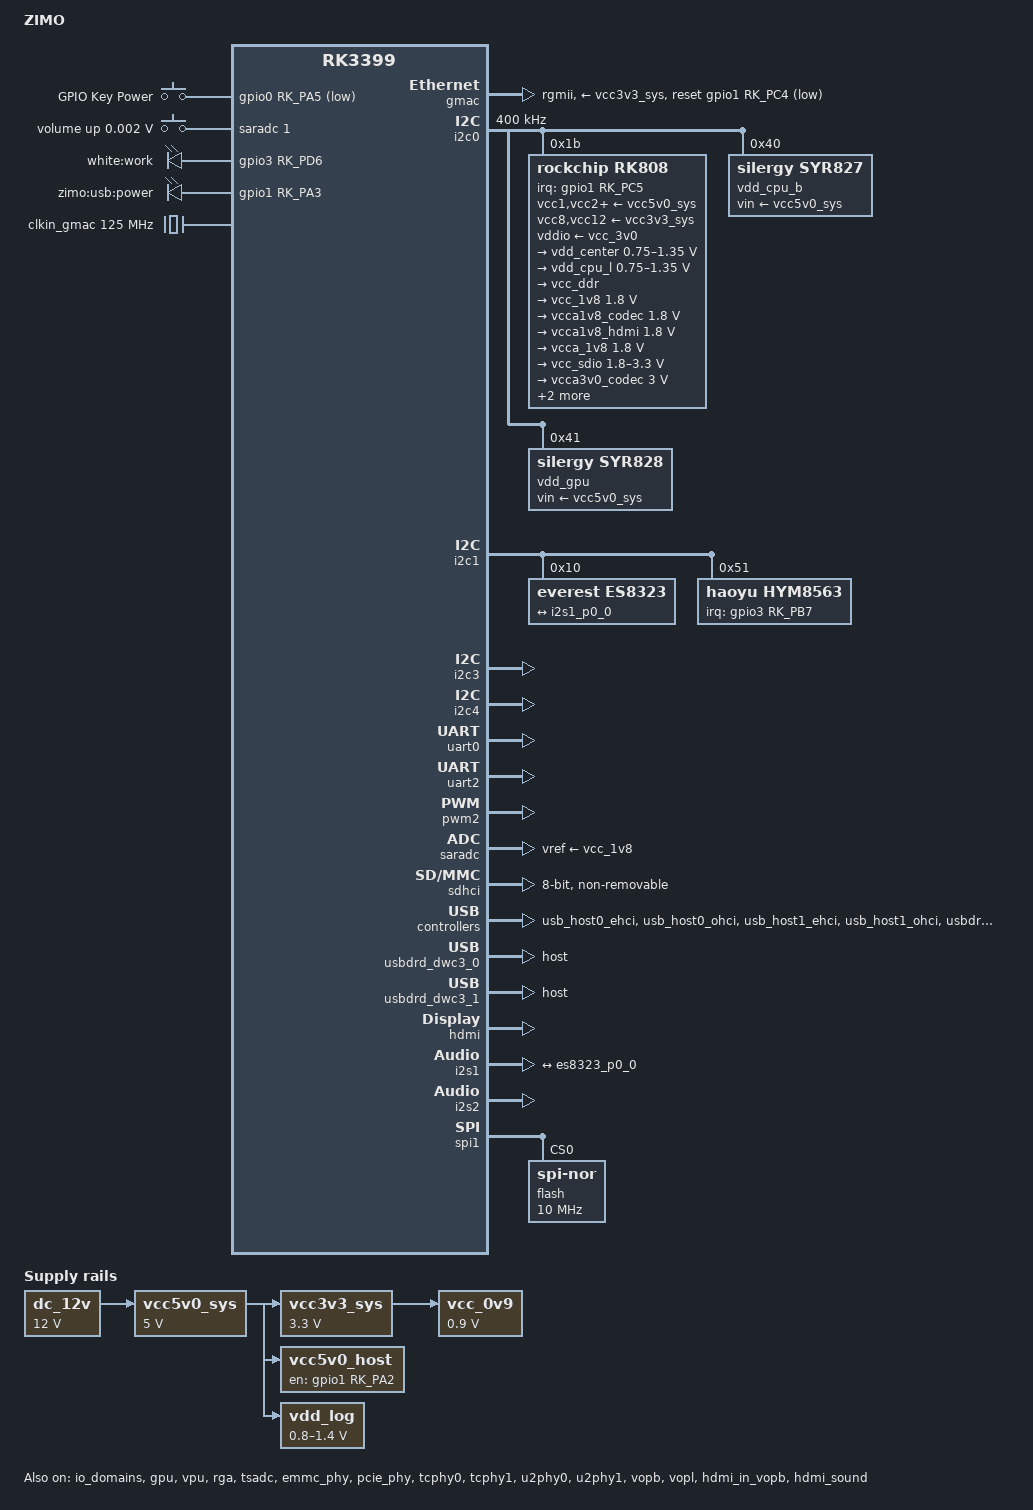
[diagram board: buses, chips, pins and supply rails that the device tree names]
// SPDX-License-Identifier: (GPL-2.0+ OR MIT)
/*
 * Copyright (C) 2025 kaixinos <kaixinos@outlook.com>
 */

/dts-v1/;
#include <dt-bindings/input/linux-event-codes.h>
#include <dt-bindings/leds/common.h>
#include <dt-bindings/pwm/pwm.h>
#include "rk3399.dtsi"

/ {
	model = "ZIMO";
	compatible = "rockchip,zimo", "rockchip,rk3399";

	aliases {
		ethernet0 = &gmac;
		mmc0 = &sdio0;
		mmc1 = &sdmmc;
		mmc2 = &sdhci;
	};

	chosen {
		stdout-path = "serial2:1500000n8";
	};

	dc_12v: dc-12v {
		compatible = "regulator-fixed";
		regulator-name = "dc_12v";
		regulator-always-on;
		regulator-boot-on;
		regulator-min-microvolt = <12000000>;
		regulator-max-microvolt = <12000000>;
	};

	vcc5v0_sys: vcc5v0-sys {
		compatible = "regulator-fixed";
		regulator-name = "vcc5v0_sys";
		regulator-always-on;
		regulator-boot-on;
		regulator-min-microvolt = <5000000>;
		regulator-max-microvolt = <5000000>;
		vin-supply = <&dc_12v>;
	};

	vcc3v3_sys: vcc3v3-sys {
		compatible = "regulator-fixed";
		regulator-name = "vcc3v3_sys";
		regulator-always-on;
		regulator-boot-on;
		regulator-min-microvolt = <3300000>;
		regulator-max-microvolt = <3300000>;
		vin-supply = <&vcc5v0_sys>;
	};

	vcc5v0_host: vcc5v0-host {
		compatible = "regulator-fixed";
		regulator-name = "vcc5v0_host";
		regulator-always-on;
		enable-active-high;
		gpio = <&gpio1 RK_PA2 GPIO_ACTIVE_HIGH>;
		pinctrl-names = "default";
		pinctrl-0 = <&vcc5v0_host_en>;
		vin-supply = <&vcc5v0_sys>;
	};

	vdd_log: vdd-log {
		compatible = "pwm-regulator";
		pwms = <&pwm2 0 25000 1>;
		regulator-name = "vdd_log";
		regulator-always-on;
		regulator-boot-on;
		regulator-min-microvolt = <800000>;
		regulator-max-microvolt = <1400000>;
		vin-supply = <&vcc5v0_sys>;
	};

	vcc_0v9: vcc-0v9 {
		compatible = "regulator-fixed";
		regulator-name = "vcc_0v9";
		regulator-always-on;
		regulator-boot-on;
		regulator-min-microvolt = <900000>;
		regulator-max-microvolt = <900000>;
		vin-supply = <&vcc3v3_sys>;
	};

	gpio-keys {
		compatible = "gpio-keys";
		autorepeat;
		pinctrl-names = "default";
		pinctrl-0 = <&power_key>;

		key-power {
			gpios = <&gpio0 RK_PA5 GPIO_ACTIVE_LOW>;
			label = "GPIO Key Power";
			linux,code = <KEY_POWER>;
			debounce-interval = <100>;
			wakeup-source;
		};
	};

	adc-keys {
		compatible = "adc-keys";
		io-channels = <&saradc 1>;
		io-channel-names = "buttons";
		keyup-threshold-microvolt = <1800000>;
		poll-interval = <100>;

		vol-up-key {
			label = "volume up";
			linux,code = <KEY_VOLUMEUP>;
			press-threshold-microvolt = <1750>;
		};
	};

	leds {
		compatible = "gpio-leds";

		led-power {
			label = "white:work";
			gpios = <&gpio3 RK_PD6 GPIO_ACTIVE_HIGH>;
			pinctrl-names = "default";
			pinctrl-0 = <&led_power>;
			default-state = "on";
		};

		usb-power {
			label = "zimo:usb:power";
			gpios = <&gpio1 RK_PA3 GPIO_ACTIVE_HIGH>;
			pinctrl-names = "default";
			pinctrl-0 = <&usb_power_en>;
			default-state = "on";
		};
	};

	clkin_gmac: external-gmac-clock {
		compatible = "fixed-clock";
		clock-frequency = <125000000>;
		clock-output-names = "clkin_gmac";
		#clock-cells = <0>;
	};
};

&io_domains {
	status = "okay";

	bt656-supply = <&vcc_3v0>;		/* APIO2_VDD */
	audio-supply = <&vcc_3v0>;		/* APIO5_VDD */
	sdmmc-supply = <&vcc_sdio>;		/* SDMMC0_VDD */
	gpio1830-supply = <&vcc_3v0>;		/* APIO4_VDD */
};

&pmu_io_domains {
	status = "okay";

	pmu1830-supply = <&vcc_1v8>;		/* PMUIO2_VDD */
};

&cpu_l0 {
	cpu-supply = <&vdd_cpu_l>;
};

&cpu_l1 {
	cpu-supply = <&vdd_cpu_l>;
};

&cpu_l2 {
	cpu-supply = <&vdd_cpu_l>;
};

&cpu_l3 {
	cpu-supply = <&vdd_cpu_l>;
};

&cpu_b0 {
	cpu-supply = <&vdd_cpu_b>;
};

&cpu_b1 {
	cpu-supply = <&vdd_cpu_b>;
};

&gpu {
	status = "okay";
	mali-supply = <&vdd_gpu>;
};

&vpu {
	status = "okay";
};

&rga {
	status = "okay";
};

&gmac {
	status = "okay";
	assigned-clock-parents = <&clkin_gmac>;
	assigned-clocks = <&cru SCLK_RMII_SRC>;
	clock_in_out = "input";
	phy-supply = <&vcc3v3_sys>;
	phy-mode = "rgmii";
	pinctrl-names = "default";
	pinctrl-0 = <&rgmii_pins>;
	snps,reset-gpio = <&gpio1 RK_PC4 GPIO_ACTIVE_LOW>;
	snps,reset-active-low;
	snps,reset-delays-us = <0 10000 50000>;
	tx_delay = <0x2b>;
	rx_delay = <0x29>;
};

&i2c0 {
	status = "okay";
	clock-frequency = <400000>;
	i2c-scl-rising-time-ns = <168>;
	i2c-scl-falling-time-ns = <4>;

	rk808: pmic@1b {
		compatible = "rockchip,rk808";
		reg = <0x1b>;
		interrupt-parent = <&gpio1>;
		interrupts = <RK_PC5 IRQ_TYPE_LEVEL_LOW>;
		#clock-cells = <1>;
		clock-output-names = "xin32k", "rk808-clkout2";
		pinctrl-names = "default";
		pinctrl-0 = <&pmic_int_l>;
		rockchip,system-power-controller;
		wakeup-source;

		vcc1-supply = <&vcc5v0_sys>;
		vcc2-supply = <&vcc5v0_sys>;
		vcc3-supply = <&vcc5v0_sys>;
		vcc4-supply = <&vcc5v0_sys>;
		vcc6-supply = <&vcc5v0_sys>;
		vcc7-supply = <&vcc5v0_sys>;
		vcc8-supply = <&vcc3v3_sys>;
		vcc9-supply = <&vcc5v0_sys>;
		vcc10-supply = <&vcc5v0_sys>;
		vcc11-supply = <&vcc5v0_sys>;
		vcc12-supply = <&vcc3v3_sys>;
		vddio-supply = <&vcc_3v0>;

		regulators {
			vdd_center: DCDC_REG1 {
				regulator-name = "vdd_center";
				regulator-always-on;
				regulator-boot-on;
				regulator-min-microvolt = <750000>;
				regulator-max-microvolt = <1350000>;
				regulator-ramp-delay = <6001>;

				regulator-state-mem {
					regulator-off-in-suspend;
				};
			};

			vdd_cpu_l: DCDC_REG2 {
				regulator-name = "vdd_cpu_l";
				regulator-always-on;
				regulator-boot-on;
				regulator-min-microvolt = <750000>;
				regulator-max-microvolt = <1350000>;
				regulator-ramp-delay = <6001>;

				regulator-state-mem {
					regulator-off-in-suspend;
				};
			};

			vcc_ddr: DCDC_REG3 {
				regulator-name = "vcc_ddr";
				regulator-always-on;
				regulator-boot-on;

				regulator-state-mem {
					regulator-on-in-suspend;
				};
			};

			vcc_1v8: DCDC_REG4 {
				regulator-name = "vcc_1v8";
				regulator-always-on;
				regulator-boot-on;
				regulator-min-microvolt = <1800000>;
				regulator-max-microvolt = <1800000>;

				regulator-state-mem {
					regulator-on-in-suspend;
					regulator-suspend-microvolt = <1800000>;
				};
			};

			vcca1v8_codec: LDO_REG1 {
				regulator-name = "vcca1v8_codec";
				regulator-always-on;
				regulator-boot-on;
				regulator-min-microvolt = <1800000>;
				regulator-max-microvolt = <1800000>;

				regulator-state-mem {
					regulator-off-in-suspend;
				};
			};

			vcca1v8_hdmi: LDO_REG2 {
				regulator-name = "vcca1v8_hdmi";
				regulator-always-on;
				regulator-boot-on;
				regulator-min-microvolt = <1800000>;
				regulator-max-microvolt = <1800000>;

				regulator-state-mem {
					regulator-off-in-suspend;
				};
			};

			vcca_1v8: LDO_REG3 {
				regulator-name = "vcca_1v8";
				regulator-always-on;
				regulator-boot-on;
				regulator-min-microvolt = <1800000>;
				regulator-max-microvolt = <1800000>;

				regulator-state-mem {
					regulator-on-in-suspend;
					regulator-suspend-microvolt = <1800000>;
				};
			};

			vcc_sdio: LDO_REG4 {
				regulator-name = "vcc_sdio";
				regulator-always-on;
				regulator-boot-on;
				regulator-min-microvolt = <1800000>;
				regulator-max-microvolt = <3300000>;

				regulator-state-mem {
					regulator-on-in-suspend;
					regulator-suspend-microvolt = <3000000>;
				};
			};

			vcca3v0_codec: LDO_REG5 {
				regulator-name = "vcca3v0_codec";
				regulator-always-on;
				regulator-boot-on;
				regulator-min-microvolt = <3000000>;
				regulator-max-microvolt = <3000000>;

				regulator-state-mem {
					regulator-off-in-suspend;
				};
			};

			vcc_1v5: LDO_REG6 {
				regulator-name = "vcc_1v5";
				regulator-always-on;
				regulator-boot-on;
				regulator-min-microvolt = <1500000>;
				regulator-max-microvolt = <1500000>;

				regulator-state-mem {
					regulator-on-in-suspend;
					regulator-suspend-microvolt = <1500000>;
				};
			};

			vcca0v9_hdmi: LDO_REG7 {
				regulator-name = "vcca0v9_hdmi";
				regulator-always-on;
				regulator-boot-on;
				regulator-min-microvolt = <900000>;
				regulator-max-microvolt = <900000>;

				regulator-state-mem {
					regulator-off-in-suspend;
				};
			};

			vcc_3v0: LDO_REG8 {
				regulator-name = "vcc_3v0";
				regulator-always-on;
				regulator-boot-on;
				regulator-min-microvolt = <3000000>;
				regulator-max-microvolt = <3000000>;

				regulator-state-mem {
					regulator-on-in-suspend;
					regulator-suspend-microvolt = <3000000>;
				};
			};

			vcc_cam: SWITCH_REG1 {
				regulator-name = "vcc_cam";
				regulator-always-on;
				regulator-boot-on;

				regulator-state-mem {
					regulator-off-in-suspend;
				};
			};

			vcc_mipi: SWITCH_REG2 {
				regulator-name = "vcc_mipi";
				regulator-always-on;
				regulator-boot-on;

				regulator-state-mem {
					regulator-off-in-suspend;
				};
			};
		};
	};

	vdd_cpu_b: regulator@40 {
		compatible = "silergy,syr827";
		reg = <0x40>;
		fcs,suspend-voltage-selector = <1>;
		pinctrl-names = "default";
		pinctrl-0 = <&vsel1_pin>;
		regulator-name = "vdd_cpu_b";
		regulator-min-microvolt = <712500>;
		regulator-max-microvolt = <1500000>;
		regulator-ramp-delay = <1000>;
		regulator-always-on;
		regulator-boot-on;
		vin-supply = <&vcc5v0_sys>;

		regulator-state-mem {
			regulator-off-in-suspend;
		};
	};

	vdd_gpu: regulator@41 {
		compatible = "silergy,syr828";
		reg = <0x41>;
		fcs,suspend-voltage-selector = <1>;
		pinctrl-names = "default";
		pinctrl-0 = <&vsel2_pin>;
		regulator-name = "vdd_gpu";
		regulator-min-microvolt = <712500>;
		regulator-max-microvolt = <1500000>;
		regulator-ramp-delay = <1000>;
		regulator-always-on;
		regulator-boot-on;
		vin-supply = <&vcc5v0_sys>;

		regulator-state-mem {
			regulator-off-in-suspend;
		};
	};
};

&i2c1 {
	status = "okay";
	i2c-scl-rising-time-ns = <300>;
	i2c-scl-falling-time-ns = <15>;

	es8323: codec@10 {
		compatible = "everest,es8323";
		reg = <0x10>;
		clocks = <&cru SCLK_I2S_8CH_OUT>;
		clock-names = "mclk";
		#sound-dai-cells = <0>;

		port {
			es8323_p0_0: endpoint {
				remote-endpoint = <&i2s1_p0_0>;
			};
		};
	};

	hym8563: rtc@51 {
		compatible = "haoyu,hym8563";
		reg = <0x51>;
		interrupt-parent = <&gpio3>;
		interrupts = <RK_PB7 IRQ_TYPE_EDGE_FALLING>;
		#clock-cells = <0>;
		clock-output-names = "hym8563";
		pinctrl-names = "default";
		pinctrl-0 = <&rtc_irq>;
		wakeup-source;
	};
};

&i2c3 {
	status = "okay";
	i2c-scl-rising-time-ns = <450>;
	i2c-scl-falling-time-ns = <15>;
};

&i2c4 {
	status = "okay";
	i2c-scl-rising-time-ns = <600>;
	i2c-scl-falling-time-ns = <20>;
};

&uart0 {
	status = "okay";
	pinctrl-names = "default";
	pinctrl-0 = <&uart0_xfer &uart0_cts &uart0_rts>;
};

&uart2 {
	status = "okay";
};

&pwm0 {
	status = "disabled";
};

&pwm2 {
	status = "okay";
};

&saradc {
	status = "okay";
	vref-supply = <&vcc_1v8>;
};

&tsadc {
	status = "okay";

	/* tshut mode 0:CRU 1:GPIO */
	rockchip,hw-tshut-mode = <1>;
	/* tshut polarity 0:LOW 1:HIGH */
	rockchip,hw-tshut-polarity = <1>;
};

&emmc_phy {
	status = "okay";
};

&sdhci {
	status = "okay";
	//max-frequency = <150000000>;
	bus-width = <8>;
	mmc-hs200-1_8v;
	//mmc-hs400-1_8v;
	//mmc-hs400-enhanced-strobe;
	//keep-power-in-suspend;
	non-removable;
};

&sdmmc {
	status = "disabled";
};

&sdio0 {
	status = "disabled";
};

&pcie_phy {
	status = "okay";
};

&pcie0 {
	status = "disabled";
};

&cdn_dp {
	status = "disabled";
};

&tcphy0 {
	status = "okay";
};

&tcphy1 {
	status = "okay";
};

&u2phy0 {
	status = "okay";

	u2phy0_otg: otg-port {
		status = "okay";
	};

	u2phy0_host: host-port {
		status = "okay";
		phy-supply = <&vcc5v0_host>;
	};
};

&u2phy1 {
	status = "okay";

	u2phy1_otg: otg-port {
		status = "okay";
	};

	u2phy1_host: host-port {
		status = "okay";
		phy-supply = <&vcc5v0_host>;
	};
};

&usb_host0_ehci {
	status = "okay";
};

&usb_host0_ohci {
	status = "okay";
};

&usb_host1_ehci {
	status = "okay";
};

&usb_host1_ohci {
	status = "okay";
};

&usbdrd3_0 {
	status = "okay";
};

&usbdrd_dwc3_0 {
	status = "okay";
	dr_mode = "host";
};

&usbdrd3_1 {
	status = "okay";
};

&usbdrd_dwc3_1 {
	status = "okay";
	dr_mode = "host";
};

&vopb {
	status = "okay";
};

&vopb_mmu {
	status = "okay";
};

&vopl {
	status = "okay";
};

&vopl_mmu {
	status = "okay";
};

&hdmi {
	status = "okay";
	avdd-0v9-supply = <&vcca0v9_hdmi>;
	avdd-1v8-supply = <&vcca1v8_hdmi>;
	ddc-i2c-bus = <&i2c3>;
	pinctrl-names = "default";
	pinctrl-0 = <&hdmi_cec>;
};

&hdmi_in_vopb {
	status = "okay";
};

&hdmi_in_vopl {
	status = "disabled";
};

&hdmi_sound {
	status = "okay";
};

&i2s0 {
	status = "disabled";
};

&i2s1 {
	status = "okay";
	rockchip,capture-channels = <2>;
	rockchip,playback-channels = <2>;

	i2s1_p0: port {
		i2s1_p0_0: endpoint {
			dai-format = "i2s";
			mclk-fs = <256>;
			remote-endpoint = <&es8323_p0_0>;
		};
	};
};

&i2s2 {
	status = "okay";
};

&spdif {
	status = "disabled";
};

&spi1 {
	status = "okay";

	flash@0 {
		compatible = "jedec,spi-nor";
		reg = <0>;
		spi-max-frequency = <10000000>;
	};
};

&pinctrl {
	pmic {
		pmic_int_l: pmic-int-l {
			rockchip,pins =
				<1 RK_PC5 RK_FUNC_GPIO &pcfg_pull_up>;
		};

		vsel1_pin: vsel1-pin {
			rockchip,pins =
				<1 RK_PC1 RK_FUNC_GPIO &pcfg_pull_down>;
		};

		vsel2_pin: vsel2-pin {
			rockchip,pins =
				<1 RK_PB6 RK_FUNC_GPIO &pcfg_pull_down>;
		};
	};

	usb2 {
		vcc5v0_host_en: vcc5v0-host-en {
			rockchip,pins =
				<1 RK_PA2 RK_FUNC_GPIO &pcfg_pull_none>;
		};
	};

	rockchip-key {
		power_key: power-key {
			rockchip,pins =
				<0 RK_PA5 RK_FUNC_GPIO &pcfg_pull_up>;
		};
	};

	leds {
		led_power: led-power {
			rockchip,pins =
				<3 RK_PD6 RK_FUNC_GPIO &pcfg_pull_none>;
		};

		usb_power_en: usb-power-en {
			rockchip,pins =
				<1 RK_PA3 RK_FUNC_GPIO &pcfg_pull_none>;
		};
	};

	rtc {
		rtc_irq: rtc-irq {
			rockchip,pins =
				<3 RK_PB7 RK_FUNC_GPIO &pcfg_pull_up>;
		};
	};

	es8323 {
		hp_detect: hp-detect {
			rockchip,pins =
				<1 RK_PA0 RK_FUNC_GPIO &pcfg_pull_none>;
		};

		hp_int: hp-int {
			rockchip,pins =
				<1 RK_PA1 RK_FUNC_GPIO &pcfg_pull_up>;
		};
	};
};
